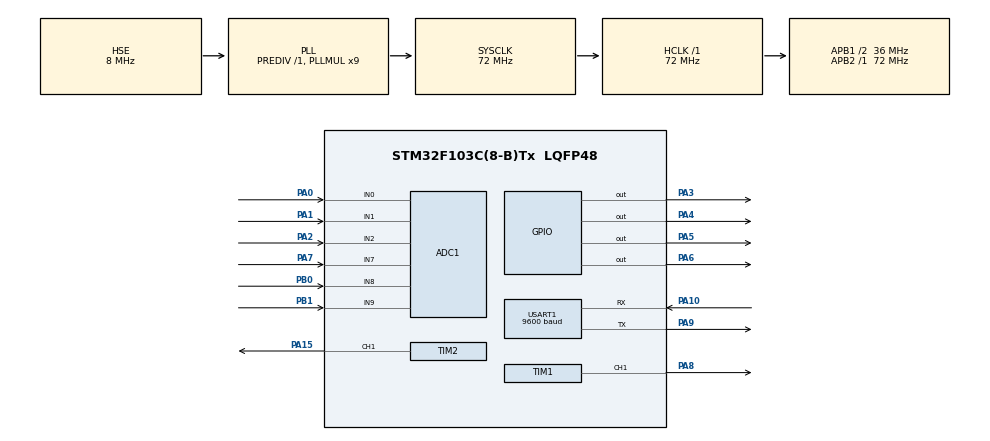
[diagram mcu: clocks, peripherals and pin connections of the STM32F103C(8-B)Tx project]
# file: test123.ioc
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ADC1.Channel-1\#ChannelRegularConversion=ADC_CHANNEL_0
ADC1.NbrOfConversionFlag=1
ADC1.Rank-1\#ChannelRegularConversion=1
ADC1.SamplingTime-1\#ChannelRegularConversion=ADC_SAMPLETIME_1CYCLE_5
ADC1.master=1
Dma.Request0=TIM1_CH1
Dma.Request1=TIM2_CH1
Dma.TIM1_CH1.0.Direction=DMA_MEMORY_TO_PERIPH
Dma.TIM1_CH1.0.Instance=DMA1_Channel2
Dma.TIM1_CH1.0.MemDataAlignment=DMA_MDATAALIGN_HALFWORD
Dma.TIM1_CH1.0.MemInc=DMA_MINC_ENABLE
Dma.TIM1_CH1.0.Mode=DMA_NORMAL
Dma.TIM1_CH1.0.PeriphDataAlignment=DMA_PDATAALIGN_HALFWORD
Dma.TIM1_CH1.0.PeriphInc=DMA_PINC_DISABLE
Dma.TIM1_CH1.0.Priority=DMA_PRIORITY_LOW
Dma.TIM2_CH1.1.Direction=DMA_MEMORY_TO_PERIPH
Dma.TIM2_CH1.1.Instance=DMA1_Channel5
Dma.TIM2_CH1.1.MemDataAlignment=DMA_MDATAALIGN_HALFWORD
Dma.TIM2_CH1.1.MemInc=DMA_MINC_ENABLE
Dma.TIM2_CH1.1.Mode=DMA_NORMAL
Dma.TIM2_CH1.1.PeriphDataAlignment=DMA_PDATAALIGN_HALFWORD
Dma.TIM2_CH1.1.PeriphInc=DMA_PINC_DISABLE
Dma.TIM2_CH1.1.Priority=DMA_PRIORITY_LOW
Mcu.Family=STM32F1
Mcu.Name=STM32F103C(8-B)Tx
Mcu.Package=LQFP48
NVIC.DMA1_Channel2_IRQn=true\:0\:0\:false\:false\:true\:false\:true\:true
NVIC.DMA1_Channel5_IRQn=true\:0\:0\:false\:false\:true\:false\:true\:true
NVIC.PriorityGroup=NVIC_PRIORITYGROUP_4
NVIC.USART1_IRQn=true\:0\:0\:false\:false\:true\:true\:true\:true
PA0-WKUP.Signal=ADCx_IN0
PA1.Signal=ADCx_IN1
PA10.Mode=Asynchronous
PA10.Signal=USART1_RX
PA13.Mode=Serial_Wire
PA13.Signal=SYS_JTMS-SWDIO
PA14.Mode=Serial_Wire
PA14.Signal=SYS_JTCK-SWCLK
PA15.Signal=S_TIM2_CH1_ETR
PA2.Signal=ADCx_IN2
PA3.Signal=GPIO_Output
PA4.Signal=GPIO_Output
PA5.Signal=GPIO_Output
PA6.Signal=GPIO_Output
PA7.Signal=ADCx_IN7
PA8.Signal=S_TIM1_CH1
PA9.Mode=Asynchronous
PA9.Signal=USART1_TX
PB0.Signal=ADCx_IN8
PB1.Signal=ADCx_IN9
PD0-OSC_IN.Mode=HSE-External-Oscillator
PD0-OSC_IN.Signal=RCC_OSC_IN
PD1-OSC_OUT.Mode=HSE-External-Oscillator
PD1-OSC_OUT.Signal=RCC_OSC_OUT
ProjectManager.HeapSize=0x200
ProjectManager.StackSize=0x400
ProjectManager.TargetToolchain=STM32CubeIDE
RCC.ADCPresc=RCC_ADCPCLK2_DIV6
RCC.AHBFreq_Value=72000000
RCC.APB1CLKDivider=RCC_HCLK_DIV2
RCC.APB1Freq_Value=36000000
RCC.APB1TimFreq_Value=72000000
RCC.APB2Freq_Value=72000000
RCC.APB2TimFreq_Value=72000000
RCC.HCLKFreq_Value=72000000
RCC.PLLMUL=RCC_PLL_MUL9
RCC.PLLSourceVirtual=RCC_PLLSOURCE_HSE
RCC.SYSCLKFreq_VALUE=72000000
RCC.SYSCLKSource=RCC_SYSCLKSOURCE_PLLCLK
RCC.USBFreq_Value=72000000
SH.ADCx_IN0.0=ADC1_IN0,IN0
SH.ADCx_IN1.0=ADC1_IN1,IN1
SH.ADCx_IN2.0=ADC1_IN2,IN2
SH.ADCx_IN7.0=ADC1_IN7,IN7
SH.ADCx_IN8.0=ADC1_IN8,IN8
SH.ADCx_IN9.0=ADC1_IN9,IN9
SH.S_TIM1_CH1.0=TIM1_CH1,PWM Generation1 CH1
SH.S_TIM2_CH1_ETR.0=TIM2_CH1,PWM Generation1 CH1
TIM1.Channel-PWM\ Generation1\ CH1=TIM_CHANNEL_1
TIM1.Period=100-1
TIM1.Prescaler=72-1
TIM2.Channel-PWM\ Generation1\ CH1=TIM_CHANNEL_1
TIM2.Period=100-1
TIM2.Prescaler=72-1
USART1.BaudRate=9600
USART1.VirtualMode=VM_ASYNC
VP_TIM1_VS_ClockSourceINT.Mode=Internal
VP_TIM2_VS_ClockSourceINT.Mode=Internal
board=custom

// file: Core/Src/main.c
/* USER CODE BEGIN Header */
/**
  ******************************************************************************
  * @file           : main.c
  * @brief          : Main program body
  ******************************************************************************
  * @attention
  *
  * Copyright (c) 2024 STMicroelectronics.
  * All rights reserved.
  *
  * This software is licensed under terms that can be found in the LICENSE file
  * in the root directory of this software component.
  * If no LICENSE file comes with this software, it is provided AS-IS.
  *
  ******************************************************************************
  */
/* USER CODE END Header */
#include "main.h"

/* USER CODE BEGIN Includes */
#include "string.h"
#include "stdio.h"
#include <stdlib.h>
/* USER CODE END Includes */

ADC_HandleTypeDef hadc1;

TIM_HandleTypeDef htim1;
TIM_HandleTypeDef htim2;
DMA_HandleTypeDef hdma_tim1_ch1;
DMA_HandleTypeDef hdma_tim2_ch1;

UART_HandleTypeDef huart1;

/* USER CODE BEGIN PV */
int Pwm_FIS_kiri[3][3] = {{20, 20, 20}, {20, 80, 60}, {20, 60, 80}};
int Pwm_FIS_kanan[3][3] = {{80, 60, 20}, {60, 80, 20}, {20, 20, 20}};
float tet =0;
float uerror[3] = {0, 0, 0};
float uderror[3] = {0, 0, 0};
float FisPWN[3][3] = {{0, 0, 0}, {0, 0, 0}, {0, 0, 0}};
float error = 0;
float derror = 0;
float sensor = 0;
float olderror = 0;
float oldsensor =0;
uint32_t adc_values[6];  // Array to store ADC values for 6 channels

char rxData[32];
char txData[128];  // Expanded buffer for debug messages
uint8_t rxIndex = 0;
float Pwm_kanan, Pwm_kiri;

/* USER CODE END PV */

void SystemClock_Config(void);
static void MX_GPIO_Init(void);
static void MX_DMA_Init(void);
static void MX_USART1_UART_Init(void);
static void MX_TIM1_Init(void);
static void MX_TIM2_Init(void);
static void MX_ADC1_Init(void);
/* USER CODE BEGIN PFP */

void fuzzerror() {
    if (error < 0) {
        uerror[0] = 1 - (error + 6) / 6.0;
    } else {
        uerror[0] = 0;
    }
    if (error > -6 && error <= 0) {
        uerror[1] = (error + 6) / 6.0;
    }
    else if (error > 0 && error <= 6) {
        uerror[1] = 1 - error / 6.0;
    } else {
        uerror[1] = 0;
    }
    if (error > 0) {
        uerror[2] = error / 6.0;
    } else {
        uerror[2] = 0;
    }
}

void fuzzderror() {
    if (derror < 0) {
        uderror[0] = 1 - (derror + 6) / 6.0;
    } else {
        uderror[0] = 0;
    }
    if (derror > -6 && derror <= 0) {
        uderror[1] = (derror + 6) / 6.0;
    }
     else if (derror > 0 && derror <= 6) {
        uderror[1] = 1 - derror / 6.0;
    } else {
        uderror[1] = 0;
    }
    if (derror > 0) {
        uderror[2] = derror / 6.0;
    } else {
        uderror[2] = 0;
    }
    }
void fuzzyfikasi() {
    for (int i = 0; i < 3; i++) {
        for (int j = 0; j < 3; j++) {
            FisPWN[i][j] = (uderror[i] < uerror[j]) ? uderror[i] : uerror[j];
        }
    }
}

void pwmST (){
     HAL_GPIO_WritePin(GPIOA, GPIO_PIN_3, GPIO_PIN_SET);
     HAL_GPIO_WritePin(GPIOA, GPIO_PIN_4, GPIO_PIN_RESET);
    HAL_GPIO_WritePin(GPIOA, GPIO_PIN_5, GPIO_PIN_SET);
    HAL_GPIO_WritePin(GPIOA, GPIO_PIN_6, GPIO_PIN_RESET);
    __HAL_TIM_SET_COMPARE(&htim1, TIM_CHANNEL_1, Pwm_kiri);
    __HAL_TIM_SET_COMPARE(&htim2, TIM_CHANNEL_1,Pwm_kanan  );

}

void calculate_pwm(float* Pwm_kanan1, float* Pwm_kiri1) {
    fuzzerror();
    fuzzderror();
    fuzzyfikasi();

    float JumlahFIS = 0;
    for (int i = 0; i < 3; i++) {
        for (int j = 0; j < 3; j++) {
            JumlahFIS += FisPWN[j][i];
        }
    }

    float num_kanan = 0;
    float num_kiri = 0;
    for (int i = 0; i < 3; i++) {
        for (int j = 0; j < 3; j++) {
            num_kanan += FisPWN[i][j] * Pwm_FIS_kanan[i][j];
            num_kiri += FisPWN[i][j] * Pwm_FIS_kiri[i][j];
        }
    }

    *Pwm_kanan1 = 1*(num_kanan / JumlahFIS)+5;
    *Pwm_kiri1 = 1*(num_kiri / JumlahFIS);
}

void read_adc_values(void) {
    uint32_t adc_channels[6] = {
        ADC_CHANNEL_0,  // PA0
        ADC_CHANNEL_1,  // PA1
        ADC_CHANNEL_2,  // PA2
        ADC_CHANNEL_7,  // PA6
        ADC_CHANNEL_8,  // PA7
        ADC_CHANNEL_9   // PB0
    };

    for (int i = 0; i < 6; i++) {
        ADC_ChannelConfTypeDef sConfig = {0};

        // Configure the ADC channel
        sConfig.Channel = adc_channels[i];
        sConfig.Rank = ADC_REGULAR_RANK_1;
        sConfig.SamplingTime = ADC_SAMPLETIME_1CYCLE_5;

        if (HAL_ADC_ConfigChannel(&hadc1, &sConfig) != HAL_OK) {
            Error_Handler();
        }

        // Start ADC conversion
        HAL_ADC_Start(&hadc1);
        if (HAL_ADC_PollForConversion(&hadc1, HAL_MAX_DELAY) == HAL_OK) {
            adc_values[i] = HAL_ADC_GetValue(&hadc1);
        }
        if (adc_values[i] > 2000)
		{
        adc_values[i] = 1;

		}
        else {
        	adc_values[i] = 0;
        }

        HAL_ADC_Stop(&hadc1);
    }
}

void error_S (){
	if (adc_values[0] == 1 && adc_values[1] == 0 && adc_values[2] == 0 &&
	        adc_values[3] == 0 && adc_values[4] == 0 && adc_values[5] == 0) {
	        sensor = 5;
	    } else if (adc_values[0] == 1 && adc_values[1] == 1 && adc_values[2] == 0 &&
	               adc_values[3] == 0 && adc_values[4] == 0 && adc_values[5] == 0) {
	        sensor = 4;
	    } else if (adc_values[0] == 1 && adc_values[1] == 1 && adc_values[2] == 1 &&
	               adc_values[3] == 0 && adc_values[4] == 0 && adc_values[5] == 0) {
	        sensor = 3;
	        tet = 1;
	    } else if (adc_values[0] == 0 && adc_values[1] == 1 && adc_values[2] == 1 &&
	               adc_values[3] == 0 && adc_values[4] == 0 && adc_values[5] == 0) {
	        sensor = 2;
	    } else if (adc_values[0] == 0 && adc_values[1] == 0 && adc_values[2] == 1 &&
	               adc_values[3] == 0 && adc_values[4] == 0 && adc_values[5] == 0) {
	        sensor = 1;
	    } else if (adc_values[0] == 0 && adc_values[1] == 0 && adc_values[2] == 0 &&
	               adc_values[3] == 0 && adc_values[4] == 0 && adc_values[5] == 0) {
	        sensor = 0;
	    } else if (adc_values[0] == 0 && adc_values[1] == 0 && adc_values[2] == 0 &&
	               adc_values[3] == 1 && adc_values[4] == 0 && adc_values[5] == 0) {
	        sensor = -1;
	    } else if (adc_values[0] == 0 && adc_values[1] == 0 && adc_values[2] == 0 &&
	               adc_values[3] == 1 && adc_values[4] == 1 && adc_values[5] == 0) {
	        sensor = -2;
	    } else if (adc_values[0] == 0 && adc_values[1] == 0 && adc_values[2] == 0 &&
	               adc_values[3] == 1 && adc_values[4] == 1 && adc_values[5] == 1) {
	        sensor = -3;
	        tet = 2;
	    } else if (adc_values[0] == 0 && adc_values[1] == 0 && adc_values[2] == 0 &&
	               adc_values[3] == 0 && adc_values[4] == 1 && adc_values[5] == 1) {
	        sensor = -4;
	    } else if (adc_values[0] == 0 && adc_values[1] == 0 && adc_values[2] == 0 &&
	               adc_values[3] == 0 && adc_values[4] == 0 && adc_values[5] == 1) {
	        sensor = -5;
	    }
	    else if (adc_values[0] == 0 && adc_values[1] == 0 && adc_values[2] == 0 &&
	    	               adc_values[3] == 0 && adc_values[4] == 0 && adc_values[5] == 0 && oldsensor<-1) {
	    	        sensor = -6;
	    	    }
	    else if (adc_values[0] == 0 && adc_values[1] == 0 && adc_values[2] == 0 &&
		    	               adc_values[3] == 0 && adc_values[4] == 0 && adc_values[5] == 0 && oldsensor > 1) {
		    	        sensor = 6;
		    	    }
	    else{

	    	sensor = oldsensor;
	    }

	oldsensor = sensor;

}

void processReceivedData() {
    // Parse input
    char* token = strtok(rxData, ",");
    if (token != NULL) {
        error = atof(token);
        token = strtok(NULL, ",");
        if (token != NULL) {
            derror = atof(token);

            // Calculate PWM values

            calculate_pwm(&Pwm_kanan, &Pwm_kiri);

            // Send the PWM results
            snprintf(txData, sizeof(txData), "Pwm_kanan: %.2f\r\nPwm_kiri: %.2f\r\n", Pwm_kanan, Pwm_kiri);
            HAL_UART_Transmit(&huart1, (uint8_t*)txData, strlen(txData), HAL_MAX_DELAY);
        } else {
            // Error in parsing derror
            char errMsg[] = "Error: derror missing or invalid format\r\n";
            HAL_UART_Transmit(&huart1, (uint8_t*)errMsg, strlen(errMsg), HAL_MAX_DELAY);
        }
    } else {
        // Error in parsing error
        char errMsg[] = "Error: error missing or invalid format\r\n";
        HAL_UART_Transmit(&huart1, (uint8_t*)errMsg, strlen(errMsg), HAL_MAX_DELAY);
    }

    // Clear the receive buffer and reset the index
    memset(rxData, 0, sizeof(rxData));
    rxIndex = 0;
}
/* USER CODE END PFP */

int main(void)
{

  /* MCU Configuration--------------------------------------------------------*/

  /* Reset of all peripherals, Initializes the Flash interface and the Systick. */
  HAL_Init();

  /* Configure the system clock */
  SystemClock_Config();

  /* Initialize all configured peripherals */
  MX_GPIO_Init();
  MX_DMA_Init();
  MX_USART1_UART_Init();
  MX_TIM1_Init();
  MX_TIM2_Init();
  MX_ADC1_Init();
  /* USER CODE BEGIN 2 */
  tet = 0;
  HAL_TIM_PWM_Start(&htim1,TIM_CHANNEL_1);
  HAL_TIM_PWM_Start(&htim2,TIM_CHANNEL_1);
  char startupMsg[] = "System Initialized. Send data in format: error,derror (e.g., 3,3)\r\n";
  HAL_UART_Transmit(&huart1, (uint8_t*)startupMsg, strlen(startupMsg), HAL_MAX_DELAY);
  /* USER CODE END 2 */

  /* Infinite loop */
  while (1)
  {
   olderror = error;
   tet = 0;
    /* USER CODE BEGIN 3 */
	  /* USER CODE END WHILE */
	  	  /* USER CODE END WHILE */
	  		  /* USER CODE END WHILE */
	  	  read_adc_values();  // Read all six ADC channels
	  	  error_S();
	  	  error = 0-sensor;
	  	  derror = error - olderror;
		   calculate_pwm(&Pwm_kanan, &Pwm_kiri);
		   //pwmST ();
		   if (tet== 1){
			     HAL_GPIO_WritePin(GPIOA, GPIO_PIN_3, GPIO_PIN_SET);
			     HAL_GPIO_WritePin(GPIOA, GPIO_PIN_4, GPIO_PIN_RESET);
			    HAL_GPIO_WritePin(GPIOA, GPIO_PIN_5, GPIO_PIN_SET);
			    HAL_GPIO_WritePin(GPIOA, GPIO_PIN_6, GPIO_PIN_RESET);
			    __HAL_TIM_SET_COMPARE(&htim1, TIM_CHANNEL_1,15);
			    __HAL_TIM_SET_COMPARE(&htim2, TIM_CHANNEL_1,90);

		   }
		   else if (tet==2){
			     HAL_GPIO_WritePin(GPIOA, GPIO_PIN_3, GPIO_PIN_SET);
				     HAL_GPIO_WritePin(GPIOA, GPIO_PIN_4, GPIO_PIN_RESET);
				    HAL_GPIO_WritePin(GPIOA, GPIO_PIN_5, GPIO_PIN_SET);
				    HAL_GPIO_WritePin(GPIOA, GPIO_PIN_6, GPIO_PIN_RESET);
				    __HAL_TIM_SET_COMPARE(&htim1, TIM_CHANNEL_1,90);
				    __HAL_TIM_SET_COMPARE(&htim2, TIM_CHANNEL_1,15);
		   }
		   else {

			   pwmST ();
		   }

		    //HAL_Delay(100);

	  	           // Print ADC values for debugging
	  	    // Delay for a while before recalculating
	      /* USER CODE BEGIN 3 */
	  	          }
	    /* USER CODE END 3 */
		          }

void SystemClock_Config(void)
{
  RCC_OscInitTypeDef RCC_OscInitStruct = {0};
  RCC_ClkInitTypeDef RCC_ClkInitStruct = {0};
  RCC_PeriphCLKInitTypeDef PeriphClkInit = {0};

  /** Initializes the RCC Oscillators according to the specified parameters
  * in the RCC_OscInitTypeDef structure.
  */
  RCC_OscInitStruct.OscillatorType = RCC_OSCILLATORTYPE_HSE;
  RCC_OscInitStruct.HSEState = RCC_HSE_ON;
  RCC_OscInitStruct.HSEPredivValue = RCC_HSE_PREDIV_DIV1;
  RCC_OscInitStruct.HSIState = RCC_HSI_ON;
  RCC_OscInitStruct.PLL.PLLState = RCC_PLL_ON;
  RCC_OscInitStruct.PLL.PLLSource = RCC_PLLSOURCE_HSE;
  RCC_OscInitStruct.PLL.PLLMUL = RCC_PLL_MUL9;
  if (HAL_RCC_OscConfig(&RCC_OscInitStruct) != HAL_OK)
  {
    Error_Handler();
  }

  /** Initializes the CPU, AHB and APB buses clocks
  */
  RCC_ClkInitStruct.ClockType = RCC_CLOCKTYPE_HCLK|RCC_CLOCKTYPE_SYSCLK
                              |RCC_CLOCKTYPE_PCLK1|RCC_CLOCKTYPE_PCLK2;
  RCC_ClkInitStruct.SYSCLKSource = RCC_SYSCLKSOURCE_PLLCLK;
  RCC_ClkInitStruct.AHBCLKDivider = RCC_SYSCLK_DIV1;
  RCC_ClkInitStruct.APB1CLKDivider = RCC_HCLK_DIV2;
  RCC_ClkInitStruct.APB2CLKDivider = RCC_HCLK_DIV1;

  if (HAL_RCC_ClockConfig(&RCC_ClkInitStruct, FLASH_LATENCY_2) != HAL_OK)
  {
    Error_Handler();
  }
  PeriphClkInit.PeriphClockSelection = RCC_PERIPHCLK_ADC;
  PeriphClkInit.AdcClockSelection = RCC_ADCPCLK2_DIV6;
  if (HAL_RCCEx_PeriphCLKConfig(&PeriphClkInit) != HAL_OK)
  {
    Error_Handler();
  }
}

static void MX_ADC1_Init(void)
{

  ADC_ChannelConfTypeDef sConfig = {0};

  /** Common config
  */
  hadc1.Instance = ADC1;
  hadc1.Init.ScanConvMode = ADC_SCAN_DISABLE;
  hadc1.Init.ContinuousConvMode = DISABLE;
  hadc1.Init.DiscontinuousConvMode = DISABLE;
  hadc1.Init.ExternalTrigConv = ADC_SOFTWARE_START;
  hadc1.Init.DataAlign = ADC_DATAALIGN_RIGHT;
  hadc1.Init.NbrOfConversion = 1;
  if (HAL_ADC_Init(&hadc1) != HAL_OK)
  {
    Error_Handler();
  }

  /** Configure Regular Channel
  */
  sConfig.Channel = ADC_CHANNEL_0;
  sConfig.Rank = ADC_REGULAR_RANK_1;
  sConfig.SamplingTime = ADC_SAMPLETIME_1CYCLE_5;
  if (HAL_ADC_ConfigChannel(&hadc1, &sConfig) != HAL_OK)
  {
    Error_Handler();
  }

}

static void MX_TIM1_Init(void)
{

  TIM_ClockConfigTypeDef sClockSourceConfig = {0};
  TIM_MasterConfigTypeDef sMasterConfig = {0};
  TIM_OC_InitTypeDef sConfigOC = {0};
  TIM_BreakDeadTimeConfigTypeDef sBreakDeadTimeConfig = {0};

  htim1.Instance = TIM1;
  htim1.Init.Prescaler = 72-1;
  htim1.Init.CounterMode = TIM_COUNTERMODE_UP;
  htim1.Init.Period = 100-1;
  htim1.Init.ClockDivision = TIM_CLOCKDIVISION_DIV1;
  htim1.Init.RepetitionCounter = 0;
  htim1.Init.AutoReloadPreload = TIM_AUTORELOAD_PRELOAD_DISABLE;
  if (HAL_TIM_Base_Init(&htim1) != HAL_OK)
  {
    Error_Handler();
  }
  sClockSourceConfig.ClockSource = TIM_CLOCKSOURCE_INTERNAL;
  if (HAL_TIM_ConfigClockSource(&htim1, &sClockSourceConfig) != HAL_OK)
  {
    Error_Handler();
  }
  if (HAL_TIM_PWM_Init(&htim1) != HAL_OK)
  {
    Error_Handler();
  }
  sMasterConfig.MasterOutputTrigger = TIM_TRGO_RESET;
  sMasterConfig.MasterSlaveMode = TIM_MASTERSLAVEMODE_DISABLE;
  if (HAL_TIMEx_MasterConfigSynchronization(&htim1, &sMasterConfig) != HAL_OK)
  {
    Error_Handler();
  }
  sConfigOC.OCMode = TIM_OCMODE_PWM1;
  sConfigOC.Pulse = 0;
  sConfigOC.OCPolarity = TIM_OCPOLARITY_HIGH;
  sConfigOC.OCNPolarity = TIM_OCNPOLARITY_HIGH;
  sConfigOC.OCFastMode = TIM_OCFAST_DISABLE;
  sConfigOC.OCIdleState = TIM_OCIDLESTATE_RESET;
  sConfigOC.OCNIdleState = TIM_OCNIDLESTATE_RESET;
  if (HAL_TIM_PWM_ConfigChannel(&htim1, &sConfigOC, TIM_CHANNEL_1) != HAL_OK)
  {
    Error_Handler();
  }
  sBreakDeadTimeConfig.OffStateRunMode = TIM_OSSR_DISABLE;
  sBreakDeadTimeConfig.OffStateIDLEMode = TIM_OSSI_DISABLE;
  sBreakDeadTimeConfig.LockLevel = TIM_LOCKLEVEL_OFF;
  sBreakDeadTimeConfig.DeadTime = 0;
  sBreakDeadTimeConfig.BreakState = TIM_BREAK_DISABLE;
  sBreakDeadTimeConfig.BreakPolarity = TIM_BREAKPOLARITY_HIGH;
  sBreakDeadTimeConfig.AutomaticOutput = TIM_AUTOMATICOUTPUT_DISABLE;
  if (HAL_TIMEx_ConfigBreakDeadTime(&htim1, &sBreakDeadTimeConfig) != HAL_OK)
  {
    Error_Handler();
  }
  HAL_TIM_MspPostInit(&htim1);

}

static void MX_TIM2_Init(void)
{

  TIM_ClockConfigTypeDef sClockSourceConfig = {0};
  TIM_MasterConfigTypeDef sMasterConfig = {0};
  TIM_OC_InitTypeDef sConfigOC = {0};

  htim2.Instance = TIM2;
  htim2.Init.Prescaler = 72-1;
  htim2.Init.CounterMode = TIM_COUNTERMODE_UP;
  htim2.Init.Period = 100-1;
  htim2.Init.ClockDivision = TIM_CLOCKDIVISION_DIV1;
  htim2.Init.AutoReloadPreload = TIM_AUTORELOAD_PRELOAD_DISABLE;
  if (HAL_TIM_Base_Init(&htim2) != HAL_OK)
  {
    Error_Handler();
  }
  sClockSourceConfig.ClockSource = TIM_CLOCKSOURCE_INTERNAL;
  if (HAL_TIM_ConfigClockSource(&htim2, &sClockSourceConfig) != HAL_OK)
  {
    Error_Handler();
  }
  if (HAL_TIM_PWM_Init(&htim2) != HAL_OK)
  {
    Error_Handler();
  }
  sMasterConfig.MasterOutputTrigger = TIM_TRGO_RESET;
  sMasterConfig.MasterSlaveMode = TIM_MASTERSLAVEMODE_DISABLE;
  if (HAL_TIMEx_MasterConfigSynchronization(&htim2, &sMasterConfig) != HAL_OK)
  {
    Error_Handler();
  }
  sConfigOC.OCMode = TIM_OCMODE_PWM1;
  sConfigOC.Pulse = 0;
  sConfigOC.OCPolarity = TIM_OCPOLARITY_HIGH;
  sConfigOC.OCFastMode = TIM_OCFAST_DISABLE;
  if (HAL_TIM_PWM_ConfigChannel(&htim2, &sConfigOC, TIM_CHANNEL_1) != HAL_OK)
  {
    Error_Handler();
  }
  HAL_TIM_MspPostInit(&htim2);

}

static void MX_USART1_UART_Init(void)
{

  huart1.Instance = USART1;
  huart1.Init.BaudRate = 9600;
  huart1.Init.WordLength = UART_WORDLENGTH_8B;
  huart1.Init.StopBits = UART_STOPBITS_1;
  huart1.Init.Parity = UART_PARITY_NONE;
  huart1.Init.Mode = UART_MODE_TX_RX;
  huart1.Init.HwFlowCtl = UART_HWCONTROL_NONE;
  huart1.Init.OverSampling = UART_OVERSAMPLING_16;
  if (HAL_UART_Init(&huart1) != HAL_OK)
  {
    Error_Handler();
  }

}

static void MX_DMA_Init(void)
{

  /* DMA controller clock enable */
  __HAL_RCC_DMA1_CLK_ENABLE();

  /* DMA interrupt init */
  /* DMA1_Channel2_IRQn interrupt configuration */
  HAL_NVIC_SetPriority(DMA1_Channel2_IRQn, 0, 0);
  HAL_NVIC_EnableIRQ(DMA1_Channel2_IRQn);
  /* DMA1_Channel5_IRQn interrupt configuration */
  HAL_NVIC_SetPriority(DMA1_Channel5_IRQn, 0, 0);
  HAL_NVIC_EnableIRQ(DMA1_Channel5_IRQn);

}

static void MX_GPIO_Init(void)
{
  GPIO_InitTypeDef GPIO_InitStruct = {0};

  /* GPIO Ports Clock Enable */
  __HAL_RCC_GPIOD_CLK_ENABLE();
  __HAL_RCC_GPIOA_CLK_ENABLE();
  __HAL_RCC_GPIOB_CLK_ENABLE();

  /*Configure GPIO pin Output Level */
  HAL_GPIO_WritePin(GPIOA, GPIO_PIN_3|GPIO_PIN_4|GPIO_PIN_5|GPIO_PIN_6, GPIO_PIN_RESET);

  /*Configure GPIO pins : PA3 PA4 PA5 PA6 */
  GPIO_InitStruct.Pin = GPIO_PIN_3|GPIO_PIN_4|GPIO_PIN_5|GPIO_PIN_6;
  GPIO_InitStruct.Mode = GPIO_MODE_OUTPUT_PP;
  GPIO_InitStruct.Pull = GPIO_NOPULL;
  GPIO_InitStruct.Speed = GPIO_SPEED_FREQ_LOW;
  HAL_GPIO_Init(GPIOA, &GPIO_InitStruct);

}

void Error_Handler(void)
{
  /* USER CODE BEGIN Error_Handler_Debug */
  /* User can add his own implementation to report the HAL error return state */
 // __disable_irq();
  while (1)
  {
	  }
}
  /* USER CODE END Error_Handler_Debug */
